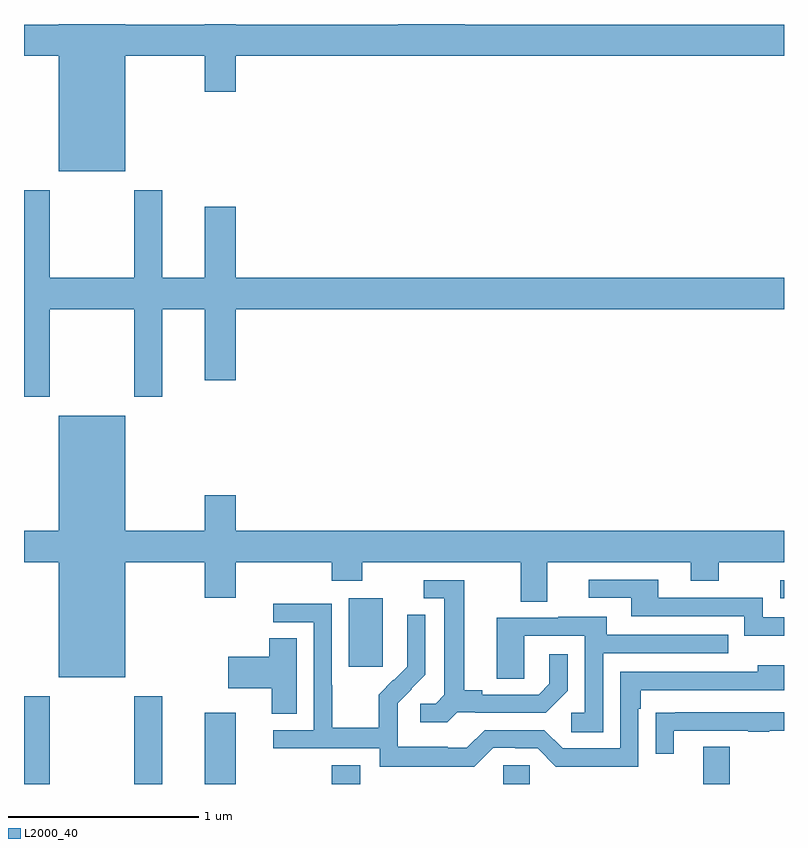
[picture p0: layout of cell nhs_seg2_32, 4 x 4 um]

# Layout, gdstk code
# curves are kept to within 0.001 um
import gdstk
lib = gdstk.Library(unit=1e-6, precision=1e-09)
def R(c, l, rs):  # rectangles x0, y0, x1, y1
    for r in rs: c.add(gdstk.rectangle(r[:2], r[2:], *l))
def P(c, l, *ps):  # polygons
    for p in ps: c.add(gdstk.Polygon(p, *l))
L2000_40 = (2000, 40)

nhs_seg2_32 = lib.new_cell('nhs_seg2_32')
R(nhs_seg2_32, L2000_40, [(111,647.8,111.135,648.262), (111.58,647.8,111.727,648.262), (111.95,647.8,112.114,648.175), (112.619,647.8,112.771,647.899), (113.523,647.8,113.661,647.898), (114.575,647.8,114.715,647.995), (112.709,648.417,112.888,648.778), (114.981,648.777,115,648.873)])
P(nhs_seg2_32, L2000_40, [(111.532,651.632),(111.95,651.632),(111.95,651.444),(112.114,651.444),(112.114,651.632),(115,651.632),(115,651.796),(113.32,651.796),(113.32,651.8),(112.97,651.8),(112.97,651.796),(112.114,651.796),(112.114,651.8),(111.95,651.8),(111.95,651.796),(111.532,651.796),(111.532,651.8),(111.182,651.8),(111.182,651.796),(111,651.796),(111,651.632),(111.182,651.632),(111.182,651.026),(111.532,651.026)],
  [(111.135,650.3),(111.58,650.3),(111.58,649.839),(111.727,649.839),(111.727,650.3),(111.95,650.3),(111.95,649.926),(112.114,649.926),(112.114,650.3),(115,650.3),(115,650.464),(112.114,650.464),(112.114,650.839),(111.95,650.839),(111.95,650.464),(111.727,650.464),(111.727,650.926),(111.58,650.926),(111.58,650.464),(111.135,650.464),(111.135,650.926),(111,650.926),(111,649.839),(111.135,649.839)],
  [(111.532,648.968),(111.95,648.968),(111.95,648.78),(112.114,648.78),(112.114,648.968),(112.619,648.968),(112.619,648.869),(112.779,648.869),(112.779,648.968),(113.615,648.968),(113.615,648.76),(113.755,648.76),(113.755,648.968),(114.509,648.968),(114.509,648.869),(114.657,648.869),(114.657,648.968),(115,648.968),(115,649.132),(112.114,649.132),(112.114,649.321),(111.95,649.321),(111.95,649.132),(111.532,649.132),(111.532,649.738),(111.182,649.738),(111.182,649.132),(111,649.132),(111,648.968),(111.182,648.968),(111.182,648.362),(111.532,648.362)],
  [(115,648.678),(114.888,648.678),(114.888,648.78),(114.337,648.78),(114.337,648.876),(113.973,648.876),(113.973,648.78),(114.197,648.78),(114.197,648.684),(114.792,648.684),(114.792,648.581),(115,648.581)],
  [(113.28,648.177),(113.374,648.177),(113.374,648.174),(113.746,648.174),(113.862,648.29),(113.862,648.484),(113.765,648.484),(113.765,648.327),(113.708,648.27),(113.413,648.27),(113.413,648.293),(113.317,648.293),(113.317,648.873),(113.103,648.873),(113.103,648.777),(113.213,648.777),(113.213,648.269),(113.166,648.222),(113.085,648.222),(113.085,648.125),(113.228,648.125)],
  [(113.469,647.991),(113.585,647.991),(113.585,647.988),(113.703,647.988),(113.799,647.892),(114.234,647.892),(114.234,648.197),(114.247,648.197),(114.247,648.294),(115,648.294),(115,648.424),(114.863,648.424),(114.863,648.39),(114.138,648.39),(114.138,647.988),(113.835,647.988),(113.739,648.084),(113.424,648.084),(113.331,647.991),(113.231,647.991),(113.231,647.995),(112.968,647.995),(112.968,648.129),(112.966,648.129),(112.966,648.226),(113.112,648.374),(113.112,648.692),(113.016,648.692),(113.016,648.538),(113.018,648.538),(113.018,648.416),(112.947,648.345),(112.944,648.348),(112.867,648.271),(112.867,648.097),(112.623,648.097),(112.623,648.32),(112.62,648.32),(112.62,648.75),(112.311,648.75),(112.311,648.651),(112.524,648.651),(112.524,648.084),(112.311,648.084),(112.311,647.988),(112.872,647.988),(112.872,647.891),(113.369,647.891)],
  [(114.048,648.489),(114.707,648.489),(114.707,648.585),(114.067,648.585),(114.067,648.679),(113.813,648.679),(113.813,648.675),(113.489,648.675),(113.489,648.355),(113.634,648.355),(113.634,648.579),(113.952,648.579),(113.952,648.174),(113.88,648.174),(113.88,648.073),(114.048,648.073)],
  [(112.435,648.566),(112.292,648.566),(112.292,648.471),(112.074,648.471),(112.074,648.305),(112.304,648.305),(112.304,648.169),(112.435,648.169)],
  [(114.421,648.081),(114.811,648.081),(114.811,648.076),(114.923,648.076),(114.923,648.081),(115,648.081),(115,648.177),(114.427,648.177),(114.427,648.176),(114.325,648.176),(114.325,647.958),(114.421,647.958)])

lib.write_gds('nhs_seg2_32.gds')
